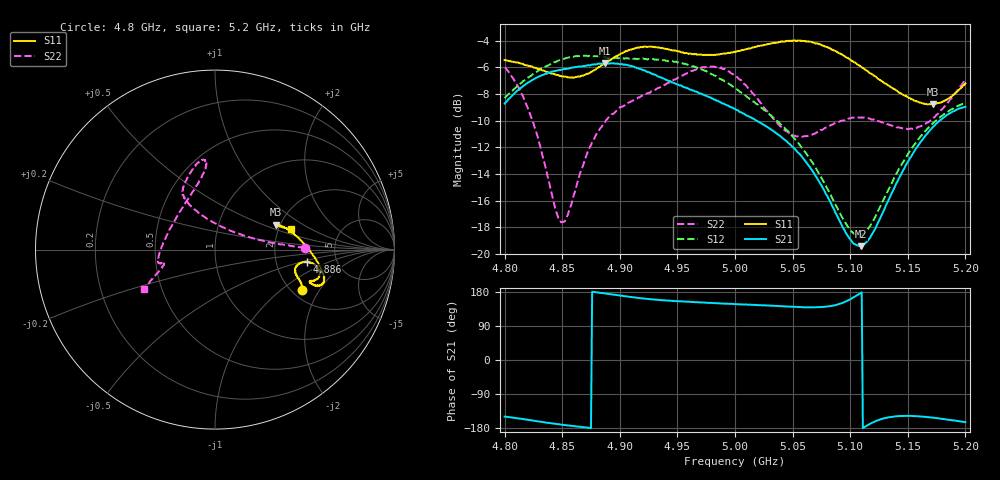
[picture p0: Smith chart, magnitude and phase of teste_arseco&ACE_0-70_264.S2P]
! Network Analyzer HP8722D
! Hewlett-Packard
! Data name: Linha & Wilkinson
! Saver's name: Rodrigo Anjos
! Comments: Teste da utilização de aquisição
! continua pelo VNA HP8722D
! Time and date: 8/5/2025 14:57
!  Frequency  S11  S21  S12  S22
# HZ  S  MA R 50
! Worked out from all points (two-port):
!   401 points, 4.8 GHz to 5.2 GHz, reference 50 ohm
!   highest |S21| = -5.68 dB at 4.887 GHz (marker M1); lowest = -19.4 dB at 5.109 GHz (marker M2)
!   |S21| within 3 dB of the highest: 4.8 GHz to 4.989 GHz (188.3 MHz wide, 3.85 % of centre)
!   lowest |S11| = -8.8 dB at 5.172 GHz (marker M3), VSWR 2.15, Z = 94.6 + j30.2 ohm
!   |S11| at or under -10 dB: nowhere
!   |S22| runs from -17.6 to -5.9 dB; largest |S21 - S12| = 1.1
!   S11 on the Smith chart (normalised r, x): 4.8 GHz: 2.25, -1.42; 4.886 GHz: 3.02, -0.56; 5.2 GHz: 2.34, +0.65
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4.8e9  0.5338 -25.1  0.3671 -149.3  0.3847 10.0  0.5006 1.3
4.812e9  0.5218 -22.1  0.4132 -154.1  0.4294 8.3  0.4221 2.7
4.823e9  0.5056 -20.2  0.4472 -159.1  0.466 6.9  0.3266 6.4
4.848e9  0.4649 -16.1  0.4894 -170.0  0.5339 2.7  0.1341 55.9
4.854e9  0.4618 -14.3  0.4957 -172.4  0.5443 1.9  0.138 81.3
4.867e9  0.4665 -10.8  0.5056 -177.0  0.5528 0.1  0.2101 111.9
4.886e9  0.5157 -7.5  0.5184 176.2  0.5492 -1.4  0.3089 120.4
4.887e9  0.5174 -7.7  0.5197 175.7  0.5478 -1.3  0.3114 120.3
4.913e9  0.5913 -11.1  0.5018 165.1  0.541 -0.9  0.3801 118.1
4.934e9  0.5944 -15.7  0.4619 158.3  0.5365 -1.9  0.42 112.2
4.973e9  0.558 -18.5  0.3951 151.6  0.4888 -5.3  0.5023 99.3
5e9  0.5744 -19.5  0.35 147.5  0.42 -5.5  0.4686 96.3
5.018e9  0.5994 -19.6  0.3175 145.4  0.3669 -2.7  0.39 103.3
5.043e9  0.6259 -17.6  0.2684 141.6  0.2975 2.5  0.2912 130.2
5.067e9  0.6226 -13.6  0.2061 138.9  0.2213 9.3  0.2805 164.6
5.098e9  0.5442 -2.7  0.1168 157.0  0.1266 37.9  0.3212 -170.7
5.109e9  0.5056 2.6  0.107 176.5  0.1177 59.6  0.3247 -167.4
5.119e9  0.4728 7.6  0.1188 -165.5  0.131 78.7  0.3191 -166.3
5.134e9  0.4268 14.8  0.1618 -151.0  0.1771 94.7  0.305 -165.9
5.156e9  0.3756 21.7  0.2442 -148.1  0.2582 101.5  0.2965 -163.7
5.172e9  0.3644 22.3  0.3 -152.3  0.3102 102.1  0.3233 -160.0
5.2e9  0.4368 14.9  0.3567 -164.0  0.3696 102.5  0.4509 -150.7
